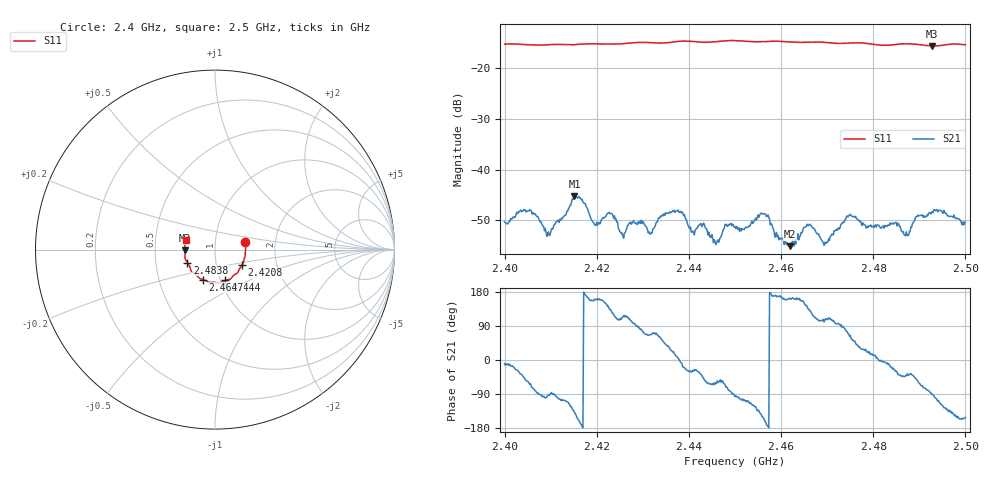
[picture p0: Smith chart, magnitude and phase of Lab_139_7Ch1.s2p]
# Hz S RI R 50
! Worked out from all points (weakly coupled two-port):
!   601 points, 2.4 GHz to 2.5 GHz, reference 50 ohm
!   highest |S21| = -45.22 dB at 2.4152 GHz (marker M1); lowest = -55.1 dB at 2.462 GHz (marker M2)
!   lowest |S11| = -15.6 dB at 2.4928 GHz (marker M3), VSWR 1.40, Z = 35.8 - j0.343 ohm
!   |S11| at or under -10 dB: start of sweep to end of sweep
!   S12 and S22 are empty: the file has one direction only
!   S11 on the Smith chart (normalised r, x): 2.4 GHz: 1.40, +0.12; 2.4208 GHz: 1.33, -0.24; 2.444 GHz: 1.06, -0.37; 2.4647 GHz: 0.83, -0.29; 2.4838 GHz: 0.73, -0.11; 2.5 GHz: 0.72, +0.08
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2.4e9  0.1675 0.0411  0.00303 -0.000513  0 0  0 0
2.405333e9  0.1705 0.00591  0.00183 -0.00349  0 0  0 0
2.4095e9  0.1686 -0.025  -9.76e-05 -0.00244  0 0  0 0
2.415167e9  0.1608 -0.0577  -0.00405 -0.00369  0 0  0 0
2.416667e9  0.1591 -0.0682  -0.00499 -0.000803  0 0  0 0
2.420833e9  0.1505 -0.0871  -0.00284 0.00105  0 0  0 0
2.423e9  0.1433 -0.0969  -0.00254 0.00269  0 0  0 0
2.425667e9  0.1338 -0.1122  -0.000897 0.00203  0 0  0 0
2.433333e9  0.1078 -0.1403  0.00139 0.00298  0 0  0 0
2.444e9  0.058 -0.1709  0.00123 -0.00211  0 0  0 0
2.45e9  0.0246 -0.186  -0.000332 -0.00271  0 0  0 0
2.456167e9  -0.0148 -0.1821  -0.00325 -0.00167  0 0  0 0
2.462e9  -0.0468 -0.1753  -0.00167 0.000561  0 0  0 0
2.464667e9  -0.0673 -0.1671  -0.00225 0.001  0 0  0 0
2.466667e9  -0.0799 -0.1628  -0.00149 0.00231  0 0  0 0
2.469667e9  -0.0918 -0.1544  -0.000619 0.00177  0 0  0 0
2.474667e9  -0.12 -0.1302  0.00132 0.00327  0 0  0 0
2.483333e9  -0.1507 -0.0762  0.00279 -0.000582  0 0  0 0
2.483833e9  -0.1535 -0.0721  0.00277 -0.000911  0 0  0 0
2.487167e9  -0.1666 -0.0516  0.00183 -0.00161  0 0  0 0
2.492833e9  -0.166 -0.00467  -9.22e-05 -0.00387  0 0  0 0
2.5e9  -0.1623 0.0527  -0.00269 -0.00146  0 0  0 0
